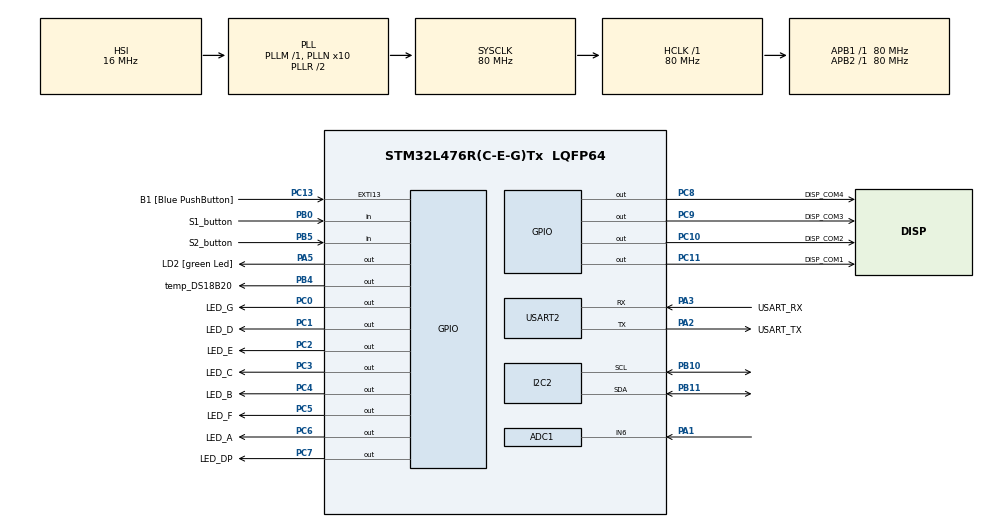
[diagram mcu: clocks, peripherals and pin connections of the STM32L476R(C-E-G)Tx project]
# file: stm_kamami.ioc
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ADC1.Channel-2\#ChannelRegularConversion=ADC_CHANNEL_6
ADC1.NbrOfConversionFlag=1
ADC1.OffsetNumber-2\#ChannelRegularConversion=ADC_OFFSET_NONE
ADC1.Rank-2\#ChannelRegularConversion=1
ADC1.SamplingTime-2\#ChannelRegularConversion=ADC_SAMPLETIME_2CYCLES_5
ADC1.master=1
I2C2.Timing=0x10909CEC
Mcu.Family=STM32L4
Mcu.Name=STM32L476R(C-E-G)Tx
Mcu.Package=LQFP64
NVIC.PriorityGroup=NVIC_PRIORITYGROUP_4
NVIC.TIM4_IRQn=true\:1\:0\:true\:false\:true\:true\:true\:true
NVIC.TIM5_IRQn=true\:1\:0\:true\:false\:true\:true\:true\:true
NVIC.TIM6_DAC_IRQn=true\:1\:0\:true\:false\:true\:true\:true\:true
NVIC.TIM7_IRQn=true\:0\:0\:true\:false\:true\:true\:true\:true
PA1.Signal=ADCx_IN6
PA13\ (JTMS-SWDIO).GPIO_Label=TMS
PA13\ (JTMS-SWDIO).Mode=Serial_Wire
PA13\ (JTMS-SWDIO).Signal=SYS_JTMS-SWDIO
PA14\ (JTCK-SWCLK).GPIO_Label=TCK
PA14\ (JTCK-SWCLK).Mode=Serial_Wire
PA14\ (JTCK-SWCLK).Signal=SYS_JTCK-SWCLK
PA2.GPIO_Label=USART_TX
PA2.GPIO_Mode=GPIO_MODE_AF_PP
PA2.GPIO_PuPd=GPIO_NOPULL
PA2.GPIO_Speed=GPIO_SPEED_FREQ_VERY_HIGH
PA2.Mode=Asynchronous
PA2.Signal=USART2_TX
PA3.GPIO_Label=USART_RX
PA3.GPIO_Mode=GPIO_MODE_AF_PP
PA3.GPIO_PuPd=GPIO_NOPULL
PA3.GPIO_Speed=GPIO_SPEED_FREQ_VERY_HIGH
PA3.Mode=Asynchronous
PA3.Signal=USART2_RX
PA5.GPIO_Label=LD2 [green Led]
PA5.GPIO_ModeDefaultOutputPP=GPIO_MODE_OUTPUT_PP
PA5.GPIO_PuPd=GPIO_NOPULL
PA5.GPIO_Speed=GPIO_SPEED_FREQ_LOW
PA5.Signal=GPIO_Output
PB0.GPIO_Label=S1_button
PB0.GPIO_PuPd=GPIO_PULLUP
PB0.Signal=GPIO_Input
PB10.Mode=I2C
PB10.Signal=I2C2_SCL
PB11.Mode=I2C
PB11.Signal=I2C2_SDA
PB3\ (JTDO-TRACESWO).GPIO_Label=SWO
PB3\ (JTDO-TRACESWO).Signal=SYS_JTDO-SWO
PB4\ (NJTRST).GPIO_Label=temp_DS18B20
PB4\ (NJTRST).GPIO_ModeDefaultOutputPP=GPIO_MODE_OUTPUT_OD
PB4\ (NJTRST).GPIO_PuPd=GPIO_NOPULL
PB4\ (NJTRST).PinState=GPIO_PIN_SET
PB4\ (NJTRST).Signal=GPIO_Output
PB5.GPIO_Label=S2_button
PB5.GPIO_PuPd=GPIO_PULLUP
PB5.Signal=GPIO_Input
PC0.GPIO_Label=LED_G
PC0.Signal=GPIO_Output
PC1.GPIO_Label=LED_D
PC1.Signal=GPIO_Output
PC10.GPIO_Label=DISP_COM2
PC10.Signal=GPIO_Output
PC11.GPIO_Label=DISP_COM1
PC11.Signal=GPIO_Output
PC13.GPIO_Label=B1 [Blue PushButton]
PC13.GPIO_ModeDefaultEXTI=GPIO_MODE_IT_FALLING
PC13.GPIO_PuPd=GPIO_NOPULL
PC13.Signal=GPXTI13
PC14-OSC32_IN\ (PC14).Mode=LSE-External-Oscillator
PC14-OSC32_IN\ (PC14).Signal=RCC_OSC32_IN
PC15-OSC32_OUT\ (PC15).Mode=LSE-External-Oscillator
PC15-OSC32_OUT\ (PC15).Signal=RCC_OSC32_OUT
PC2.GPIO_Label=LED_E
PC2.Signal=GPIO_Output
PC3.GPIO_Label=LED_C
PC3.Signal=GPIO_Output
PC4.GPIO_Label=LED_B
PC4.Signal=GPIO_Output
PC5.GPIO_Label=LED_F
PC5.Signal=GPIO_Output
PC6.GPIO_Label=LED_A
PC6.Signal=GPIO_Output
PC7.GPIO_Label=LED_DP
PC7.Signal=GPIO_Output
PC8.GPIO_Label=DISP_COM4
PC8.Signal=GPIO_Output
PC9.GPIO_Label=DISP_COM3
PC9.Signal=GPIO_Output
PH0-OSC_IN\ (PH0).Signal=RCC_OSC_IN
PH1-OSC_OUT\ (PH1).Signal=RCC_OSC_OUT
ProjectManager.HeapSize=0x200
ProjectManager.StackSize=0x400
ProjectManager.TargetToolchain=STM32CubeIDE
RCC.ADCFreq_Value=64000000
RCC.AHBFreq_Value=80000000
RCC.APB1Freq_Value=80000000
RCC.APB1TimFreq_Value=80000000
RCC.APB2Freq_Value=80000000
RCC.APB2TimFreq_Value=80000000
RCC.CortexFreq_Value=80000000
RCC.HCLKFreq_Value=80000000
RCC.HSE_VALUE=8000000
RCC.HSI_VALUE=16000000
RCC.MSI_VALUE=4000000
RCC.PLLN=10
RCC.PLLSourceVirtual=RCC_PLLSOURCE_HSI
RCC.PREFETCH_ENABLE=1
RCC.SYSCLKFreq_VALUE=80000000
RCC.SYSCLKSource=RCC_SYSCLKSOURCE_PLLCLK
RCC.USBFreq_Value=64000000
RCC.VCOOutputFreq_Value=160000000
SH.ADCx_IN6.0=ADC1_IN6,IN6-Single-Ended
TIM4.Period=999
TIM4.Prescaler=79
TIM5.Period=74999
TIM5.Prescaler=799
TIM6.Period=65535
TIM6.Prescaler=79
TIM7.Period=399
TIM7.Prescaler=799
USART2.VirtualMode-Asynchronous=VM_ASYNC
VP_TIM4_VS_ClockSourceINT.Mode=Internal
VP_TIM5_VS_ClockSourceINT.Mode=Internal
VP_TIM6_VS_ClockSourceINT.Mode=Enable_Timer
VP_TIM7_VS_ClockSourceINT.Mode=Enable_Timer
board=NUCLEO-L476RG

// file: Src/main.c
/* USER CODE BEGIN Header */
/**
  ******************************************************************************
  * @file           : main.c
  * @brief          : Main program body
  ******************************************************************************
  * @attention
  *
  * Copyright (c) 2024 STMicroelectronics.
  * All rights reserved.
  *
  * This software is licensed under terms that can be found in the LICENSE file
  * in the root directory of this software component.
  * If no LICENSE file comes with this software, it is provided AS-IS.
  *
  ******************************************************************************
  */
/* USER CODE END Header */
#include "main.h"
#include "adc.h"
#include "i2c.h"
#include "tim.h"
#include "usart.h"
#include "gpio.h"

/* USER CODE BEGIN Includes */
#include <stdio.h>
#include "8-seg_disp.h"
#include "ds18b20.h"

#include "lps25hb.h"
//#include <math.h>

/* USER CODE END Includes */

/* USER CODE BEGIN PV */
int i = 0;
int num=0;
int num1=0;
int num2=0;
int num3=0;
int num4=0;

int a_s1=0;
int s1_deboucing [4];
int s1_state;

int a_s2=0;
int s2_deboucing [4];
int s2_state;

int mode = 0;

int temp1 = 0;
float temp = 0;
int temp_busy = 0;

float p0 = 0;
float p = 0;
float h = 0;
int h1 = 0;

/* USER CODE END PV */

void SystemClock_Config(void);

/* USER CODE BEGIN 0 */
int __io_putchar(int ch)
{
  if (ch == '\n') {
    __io_putchar('\r');
  }

  HAL_UART_Transmit(&huart2, (uint8_t*)&ch, 1, HAL_MAX_DELAY);

  return 1;
}

/* USER CODE END 0 */

int main(void)
{

  /* MCU Configuration--------------------------------------------------------*/

  /* Reset of all peripherals, Initializes the Flash interface and the Systick. */
  HAL_Init();

  /* Configure the system clock */
  SystemClock_Config();

  /* Initialize all configured peripherals */
  MX_GPIO_Init();
  MX_USART2_UART_Init();
  MX_TIM6_Init();
  MX_TIM7_Init();
  MX_TIM4_Init();
  MX_TIM5_Init();
  MX_I2C2_Init();
  MX_ADC1_Init();
  /* USER CODE BEGIN 2 */

  if (ds18b20_init() != HAL_OK) {
    Error_Handler();
  }

  uint8_t ds1[DS18B20_ROM_CODE_SIZE];

  if (ds18b20_read_address(ds1) != HAL_OK) {
    Error_Handler();
  }
  // 0x28, 0x61, 0x64, 0x8, 0xa7, 0x8a, 0x1, 0xe2

  /* USER CODE END 2 */

  /* Infinite loop */
  /* USER CODE BEGIN WHILE */
  printf("hello world \n");

  printf("Searching...\n");
  if (lps25hb_init() == HAL_OK) {
	  printf("OK: LPS25HB\n");
  } else {
	  printf("Error: LPS25HB not found\n");
	  Error_Handler();
  }
  HAL_Delay(100);

  printf("T = %.1f*C\n", lps25hb_read_temp());
  printf("p = %.1f hPa\n", lps25hb_read_pressure());

  float p0 = lps25hb_read_pressure();
  float temp = lps25hb_read_temp() + 273.15;
  float p = lps25hb_read_pressure();
  float h = -29.271769 * temp * log(p / p0);

  printf("h = %.2f m\n", h);

  HAL_Delay(1000);

  HAL_ADC_Start(&hadc1);
  HAL_ADC_PollForConversion(&hadc1, HAL_MAX_DELAY);

  uint32_t value = HAL_ADC_GetValue(&hadc1);
  float voltage = 3.3f * value / 4096.0f;
  int voltage_int = 0;

  printf("ADC = %lu (%.3f V)\n", value, voltage);
  HAL_Delay(250);

  /*
  printf("Searching...\n");
  if (lps25hb_init() == HAL_OK) {
  	printf("OK: LPS25HB\n");
  } else {
  	printf("Error: LPS25HB not found\n");
  	Error_Handler();
  }
  HAL_Delay(5000);

  lps25hb_set_calib(-60);
  */

  HAL_TIM_Base_Start_IT(&htim7);
  HAL_TIM_Base_Start_IT(&htim4); // debouncng

  HAL_GPIO_WritePin(LD2_GPIO_Port, LD2_Pin, 1);
  HAL_Delay(500);

  int s1_rising = 0;
  int s2_rising = 0;
  int b1_rising = 0;
  int stoper = 0;

  while (1)
  {

	  if (s2_state == 1 && s2_rising == 1)
	  {
		  s2_rising = 0;
		  mode++;
		  num1 = 0; //cleaning
		  num2 = 0;
		  num3 = 0;
		  num4 = 0;
		  if (mode>4) mode = 0;
	  }
	  else if(s2_state == 0)
	  {
		  s2_rising = 1;
	  }

	  if (s1_state == 1 && s1_rising == 1)
	  {
		  s1_rising = 0;
		  mode--;
		  num1 = 0; //cleaning
		  num2 = 0;
		  num3 = 0;
		  num4 = 0;
		  if (mode<0) mode = 4;
	  }
	  else if(s1_state == 0)
	  {
		  s1_rising = 1;
	  }

	  switch (mode) // 0-stoper, 1-temp_DS18b20, 2-hight_from_presure_LPS25HB, 3-LPS25HB_temp
	  {

	  	  case 0:  // stoper
	  		num1=num%10;
	  		num2=((num%100)-num1)/10;
	  		num3=((num%1000)-num2-num1)/100;
	  		num4=((num%10000)-num3-num2-num1)/1000;
	  		  if (HAL_GPIO_ReadPin(B1_GPIO_Port, B1_Pin) == 1 && b1_rising == 1)
	  		  {
	  			  b1_rising = 0;
	  			  if (stoper == 0)
	  			  {
	  				  stoper = 1;
		  			  num = 0;
	  			  }
	  			  else if (stoper == 1) stoper = 0;

	  		  }
	  		  else if(HAL_GPIO_ReadPin(B1_GPIO_Port, B1_Pin) == 0)
	  		  {
	  			  b1_rising = 1;

	  		  }

	  		  if (stoper == 1)
	  		  {
	  			  num++;
	  			  num1=num%10;
	  			  num2=((num%100)-num1)/10;
	  			  num3=((num%1000)-num2-num1)/100;
	  			  num4=((num%10000)-num3-num2-num1)/1000;
	  			  HAL_Delay(100);
	  		  }
	  		  break;

	  	  case 1: // temp DS18B20

	  		  //HAL_Delay(750);
	  		  //
	  		  if (temp_busy == 0)
	  		  {
	  			  temp_busy = 1;
	  			  ds18b20_start_measure(NULL);
	  			  HAL_TIM_Base_Start_IT(&htim5); // wait 750 to

	  		  }
	  		  break;

	  	  case 2:

	  		  //printf("p = %.1f hPa\n", lps25hb_read_pressure());
	  		  if (HAL_GPIO_ReadPin(B1_GPIO_Port, B1_Pin) == 0)
	  		  {
	  			  p0 = lps25hb_read_pressure(); //set reference
	  		  }

	  		  temp = lps25hb_read_temp() + 273.15;
	  		  p = lps25hb_read_pressure();
	  		  h = -29.271769 * temp * log(p / p0);
	  		  h1 = (int)(h*100);
	  		  num2 = abs(((h1%100))/10);
	  		  num3 = abs(((h1%1000)-num2-num3)/100);

	  		  printf("h = %.2f m\n", h);
	  		  HAL_Delay(100);

	  		  break;

	  	  case 3: //LPS25HB_temp
	  		  printf("T2 = %.1f*C\n", lps25hb_read_temp());
	  		  temp = lps25hb_read_temp();
	  		  temp1= (int)(temp*10);
	  		  num2 = temp1%10;
	  		  num3 = ((temp1%100)-num2)/10;
	  		  num4 = ((temp1%1000)-num2-num3)/100;
	  		  HAL_Delay(100);

	  		  break;
	  	  case 4:

	  		  HAL_ADC_Start(&hadc1);
	  		  HAL_ADC_PollForConversion(&hadc1, HAL_MAX_DELAY);

	  		  value = HAL_ADC_GetValue(&hadc1);
	  		  voltage = 3.3f * value / 4096.0f;

	  		  printf("ADC = %lu (%.3f V)\n", value, voltage);
	  		  voltage_int = (int)(voltage * 100);
	  		  num2 = voltage_int%10;
	  		  num3 = ((voltage_int%100)-num2)/10;
	  		  num4 = ((voltage_int%1000)-num2-num3)/100;

	  		  HAL_Delay(250);

	  		  break;

	  }

    /* USER CODE END WHILE */

  }
}

void SystemClock_Config(void)
{
  RCC_OscInitTypeDef RCC_OscInitStruct = {0};
  RCC_ClkInitTypeDef RCC_ClkInitStruct = {0};

  /** Configure the main internal regulator output voltage
  */
  if (HAL_PWREx_ControlVoltageScaling(PWR_REGULATOR_VOLTAGE_SCALE1) != HAL_OK)
  {
    Error_Handler();
  }

  /** Initializes the RCC Oscillators according to the specified parameters
  * in the RCC_OscInitTypeDef structure.
  */
  RCC_OscInitStruct.OscillatorType = RCC_OSCILLATORTYPE_HSI;
  RCC_OscInitStruct.HSIState = RCC_HSI_ON;
  RCC_OscInitStruct.HSICalibrationValue = RCC_HSICALIBRATION_DEFAULT;
  RCC_OscInitStruct.PLL.PLLState = RCC_PLL_ON;
  RCC_OscInitStruct.PLL.PLLSource = RCC_PLLSOURCE_HSI;
  RCC_OscInitStruct.PLL.PLLM = 1;
  RCC_OscInitStruct.PLL.PLLN = 10;
  RCC_OscInitStruct.PLL.PLLP = RCC_PLLP_DIV7;
  RCC_OscInitStruct.PLL.PLLQ = RCC_PLLQ_DIV2;
  RCC_OscInitStruct.PLL.PLLR = RCC_PLLR_DIV2;
  if (HAL_RCC_OscConfig(&RCC_OscInitStruct) != HAL_OK)
  {
    Error_Handler();
  }

  /** Initializes the CPU, AHB and APB buses clocks
  */
  RCC_ClkInitStruct.ClockType = RCC_CLOCKTYPE_HCLK|RCC_CLOCKTYPE_SYSCLK
                              |RCC_CLOCKTYPE_PCLK1|RCC_CLOCKTYPE_PCLK2;
  RCC_ClkInitStruct.SYSCLKSource = RCC_SYSCLKSOURCE_PLLCLK;
  RCC_ClkInitStruct.AHBCLKDivider = RCC_SYSCLK_DIV1;
  RCC_ClkInitStruct.APB1CLKDivider = RCC_HCLK_DIV1;
  RCC_ClkInitStruct.APB2CLKDivider = RCC_HCLK_DIV1;

  if (HAL_RCC_ClockConfig(&RCC_ClkInitStruct, FLASH_LATENCY_4) != HAL_OK)
  {
    Error_Handler();
  }
}

/* USER CODE BEGIN 4 */

void HAL_TIM_PeriodElapsedCallback(TIM_HandleTypeDef *htim)
{

	if (htim == &htim5)
	{
		temp = ds18b20_get_temp(NULL);
		if (temp >= 80.0f)
			printf("Sensor error...\n");
		else
		{
			printf("T1 = %.1f*C\n", temp);

			temp1= (int)(temp*10);
			num2 = temp1%10;
			num3 = ((temp1%100)-num2)/10;
			num4 = ((temp1%1000)-num2-num3)/100;
		}
		temp_busy = 0;
		HAL_TIM_Base_Stop_IT(&htim5);

	}
	if (htim == &htim7)
	{

		if (i==1)
		{
			disp(1, num1);
			if (mode == 1 || mode == 3)
			{
				disp_letter(1, 'C');
			}else if (mode == 2)
			{
				disp_letter(1, 'n');
			}else if(mode == 4)
			{
				disp_letter(1, 'V');
			}
		}
		if (i==2)
		{
			disp(2, num2);
			if (mode == 0) HAL_GPIO_WritePin(LED_DP_GPIO_Port, LED_DP_Pin, 1);
		}
		if (i==3)
		{
			disp(3, num3);
			if (mode == 1 || mode == 2 || mode == 3) HAL_GPIO_WritePin(LED_DP_GPIO_Port, LED_DP_Pin, 1);
		}

		if (i==4)
		{
			disp(4, num4);
			if (mode == 4) HAL_GPIO_WritePin(LED_DP_GPIO_Port, LED_DP_Pin, 1);
			if (mode == 2 && h1 < 0)
			{
				disp_letter(4, '-');
			}
			else if (mode == 2 && h1 >= 0)
			{
				disp_letter(4, 'null');
			}
		}

		i++;
		if (i==5) i=1;
	}
	if (htim == &htim4) //deboucing
	{

		// debouncing s1
		if (HAL_GPIO_ReadPin(S1_button_GPIO_Port, S1_button_Pin)==1)
		{
			s1_deboucing[a_s1] = 1;
			a_s1++;
			if (a_s1>3) a_s1 = 0;

			if (s1_deboucing[0] == 1 && s1_deboucing[1] == 1 && s1_deboucing[2] == 1 && s1_deboucing[3] == 1)
			{
				//HAL_GPIO_WritePin(LD2_GPIO_Port, LD2_Pin, 0);
				s1_state = 0;
			}

		}else if (HAL_GPIO_ReadPin(S1_button_GPIO_Port, S1_button_Pin) == 0)
		{
			s1_deboucing[a_s1] = 0;
			a_s1++;
			if (a_s1>3) a_s1 = 0;

			if (s1_deboucing[0] == 0 && s1_deboucing[1] == 0 && s1_deboucing[2] == 0 && s1_deboucing[3] == 0)
			{
				//HAL_GPIO_WritePin(LD2_GPIO_Port, LD2_Pin, 1);
				s1_state = 1;
			}
		}
		// debouncing s2
		if (HAL_GPIO_ReadPin(S2_button_GPIO_Port, S2_button_Pin)==1)
		{
			s2_deboucing[a_s2] = 1;
			a_s2++;
			if (a_s2>3) a_s2 = 0;

			if (s2_deboucing[0] == 1 && s2_deboucing[1] == 1 && s2_deboucing[2] == 1 && s2_deboucing[3] == 1)
			{
				//HAL_GPIO_WritePin(LD2_GPIO_Port, LD2_Pin, 0);
				s2_state = 0;
			}

		}else if (HAL_GPIO_ReadPin(S2_button_GPIO_Port, S2_button_Pin) == 0)
		{
			s2_deboucing[a_s2] = 0;
			a_s2++;
			if (a_s2>3) a_s2 = 0;

			if (s2_deboucing[0] == 0 && s2_deboucing[1] == 0 && s2_deboucing[2] == 0 && s2_deboucing[3] == 0)
			{
				//HAL_GPIO_WritePin(LD2_GPIO_Port, LD2_Pin, 1);
				s2_state = 1;
			}
		}

	}

}

/* USER CODE END 4 */

void Error_Handler(void)
{
  __disable_irq();
  while (1)
  {
  }
}
